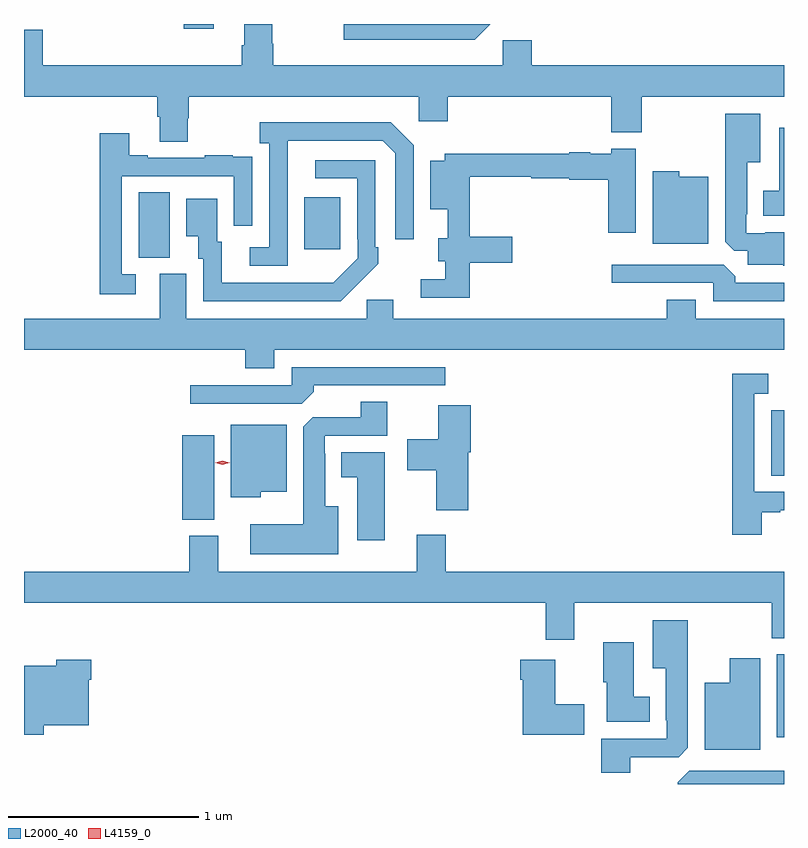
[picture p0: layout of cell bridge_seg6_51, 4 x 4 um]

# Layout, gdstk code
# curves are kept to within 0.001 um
import gdstk
lib = gdstk.Library(unit=1e-6, precision=1e-09)
def R(c, l, rs):  # rectangles x0, y0, x1, y1
    for r in rs: c.add(gdstk.rectangle(r[:2], r[2:], *l))
def P(c, l, *ps):  # polygons
    for p in ps: c.add(gdstk.Polygon(p, *l))
L2000_40 = (2000, 40)
L4159_0 = (4159, 0)

bridge_seg6_51 = lib.new_cell('bridge_seg6_51')
R(bridge_seg6_51, L2000_40, [(1093.976,987.92,1094.013,988.356), (1090.847,989.065,1091.014,989.509), (1093.946,989.296,1094.013,989.64), (1090.616,990.445,1090.78,990.788), (1091.489,990.489,1091.677,990.763), (1090.855,991.65,1091.011,991.674)])
P(bridge_seg6_51, L2000_40, [(1090.875,991.179),(1090.88,991.179),(1090.88,991.292),(1092.09,991.292),(1092.09,991.161),(1092.242,991.161),(1092.242,991.292),(1093.103,991.292),(1093.103,991.103),(1093.263,991.103),(1093.263,991.292),(1094.013,991.292),(1094.013,991.456),(1092.686,991.456),(1092.686,991.588),(1092.534,991.588),(1092.534,991.456),(1091.324,991.456),(1091.324,991.569),(1091.319,991.569),(1091.319,991.674),(1091.171,991.674),(1091.171,991.562),(1091.159,991.562),(1091.159,991.456),(1090.112,991.456),(1090.112,991.645),(1090.013,991.645),(1090.013,991.292),(1090.715,991.292),(1090.715,991.186),(1090.727,991.186),(1090.727,991.054),(1090.875,991.054)],
  [(1092.468,991.674),(1091.697,991.674),(1091.697,991.592),(1092.386,991.592)],
  [(1094.013,990.577),(1093.915,990.577),(1093.915,990.573),(1093.815,990.573),(1093.815,990.673),(1093.819,990.673),(1093.819,990.947),(1093.888,990.947),(1093.888,991.201),(1093.703,991.201),(1093.703,990.529),(1093.752,990.48),(1093.823,990.48),(1093.823,990.407),(1094.01,990.407),(1094.01,990.401),(1094.013,990.401)],
  [(1091.4,990.859),(1091.401,991.059),(1091.901,991.059),(1091.967,990.993),(1091.967,990.54),(1092.063,990.54),(1092.063,991.035),(1091.942,991.156),(1091.253,991.156),(1091.253,991.046),(1091.304,991.046),(1091.304,990.498),(1091.202,990.498),(1091.202,990.402),(1091.4,990.402)],
  [(1094.013,991.129),(1093.988,991.129),(1093.988,990.796),(1093.904,990.796),(1093.904,990.665),(1094.013,990.665)],
  [(1090.6,990.357),(1090.527,990.357),(1090.527,990.873),(1091.118,990.873),(1091.118,990.612),(1091.214,990.612),(1091.214,990.866),(1091.213,990.866),(1091.213,990.975),(1091.111,990.975),(1091.111,990.982),(1090.963,990.982),(1090.963,990.969),(1090.663,990.969),(1090.663,990.982),(1090.567,990.982),(1090.567,991.099),(1090.411,991.099),(1090.411,990.252),(1090.6,990.252)],
  [(1092.359,990.418),(1092.583,990.418),(1092.583,990.555),(1092.359,990.555),(1092.359,990.87),(1092.682,990.87),(1092.682,990.862),(1092.882,990.862),(1092.882,990.854),(1093.088,990.854),(1093.088,990.576),(1093.234,990.576),(1093.234,991.018),(1093.104,991.018),(1093.104,990.991),(1092.993,990.991),(1092.993,990.999),(1092.882,990.999),(1092.882,990.991),(1092.228,990.991),(1092.228,990.955),(1092.152,990.955),(1092.152,990.698),(1092.242,990.698),(1092.242,990.547),(1092.194,990.547),(1092.194,990.425),(1092.231,990.425),(1092.231,990.33),(1092.102,990.33),(1092.102,990.234),(1092.359,990.234)],
  [(1091.771,990.307),(1091.772,990.306),(1091.877,990.411),(1091.877,990.499),(1091.862,990.499),(1091.862,990.957),(1091.547,990.957),(1091.547,990.861),(1091.766,990.861),(1091.766,990.541),(1091.769,990.541),(1091.769,990.441),(1091.641,990.313),(1091.053,990.312),(1091.053,990.528),(1091.029,990.528),(1091.029,990.754),(1090.868,990.754),(1090.868,990.557),(1090.931,990.557),(1090.931,990.438),(1090.956,990.438),(1090.956,990.216),(1091.68,990.216)],
  [(1093.615,990.871),(1093.461,990.871),(1093.461,990.898),(1093.322,990.898),(1093.322,990.518),(1093.615,990.518)],
  [(1094.013,990.312),(1093.757,990.312),(1093.757,990.346),(1093.695,990.408),(1093.107,990.408),(1093.107,990.312),(1093.641,990.312),(1093.641,990.216),(1094.013,990.216)],
  [(1091.329,989.96),(1094.013,989.96),(1094.013,990.124),(1093.549,990.124),(1093.549,990.223),(1093.397,990.223),(1093.397,990.124),(1091.956,990.124),(1091.956,990.222),(1091.817,990.222),(1091.817,990.124),(1090.867,990.124),(1090.867,990.36),(1090.727,990.36),(1090.727,990.124),(1090.013,990.124),(1090.013,989.96),(1091.177,989.96),(1091.177,989.861),(1091.329,989.861)],
  [(1091.537,989.738),(1091.537,989.772),(1092.229,989.772),(1092.229,989.868),(1091.421,989.868),(1091.421,989.772),(1090.887,989.772),(1090.887,989.676),(1091.475,989.676)],
  [(1093.897,989.103),(1093.993,989.103),(1093.993,989.115),(1094.013,989.115),(1094.013,989.211),(1093.857,989.211),(1093.857,989.727),(1093.93,989.727),(1093.93,989.833),(1093.741,989.833),(1093.741,988.986),(1093.897,988.986)],
  [(1091.668,989.137),(1091.599,989.137),(1091.599,989.411),(1091.595,989.411),(1091.595,989.508),(1091.926,989.508),(1091.926,989.687),(1091.786,989.687),(1091.786,989.604),(1091.532,989.604),(1091.483,989.555),(1091.483,989.041),(1091.205,989.041),(1091.205,988.883),(1091.668,988.883)],
  [(1092.35,989.419),(1092.365,989.419),(1092.365,989.668),(1092.194,989.668),(1092.194,989.488),(1092.03,989.488),(1092.03,989.326),(1092.182,989.326),(1092.182,989.115),(1092.35,989.115)],
  [(1091.26,989.213),(1091.395,989.213),(1091.395,989.566),(1091.102,989.566),(1091.102,989.183),(1091.26,989.183)],
  [(1091.911,989.419),(1091.684,989.419),(1091.684,989.288),(1091.768,989.288),(1091.768,988.956),(1091.911,988.956)],
  [(1092.91,988.628),(1093.948,988.628),(1093.948,988.441),(1094.013,988.441),(1094.013,988.792),(1092.233,988.792),(1092.233,988.987),(1092.08,988.987),(1092.08,988.792),(1091.035,988.792),(1091.035,988.98),(1090.883,988.98),(1090.883,988.792),(1090.013,988.792),(1090.013,988.628),(1092.758,988.628),(1092.758,988.434),(1092.91,988.434)],
  [(1093.204,987.816),(1093.458,987.816),(1093.507,987.865),(1093.507,988.537),(1093.322,988.537),(1093.322,988.283),(1093.391,988.283),(1093.391,988.009),(1093.395,988.009),(1093.395,987.912),(1093.052,987.912),(1093.052,987.733),(1093.204,987.733)],
  [(1093.306,988.132),(1093.222,988.132),(1093.222,988.42),(1093.061,988.42),(1093.061,988.209),(1093.079,988.209),(1093.079,988.001),(1093.306,988.001)],
  [(1093.888,988.336),(1093.727,988.336),(1093.727,988.207),(1093.595,988.207),(1093.595,987.854),(1093.888,987.854)],
  [(1090.117,987.983),(1090.354,987.983),(1090.354,988.223),(1090.367,988.223),(1090.367,988.327),(1090.184,988.327),(1090.184,988.297),(1090.013,988.297),(1090.013,987.932),(1090.117,987.932)],
  [(1092.961,988.095),(1092.808,988.095),(1092.808,988.327),(1092.626,988.327),(1092.626,988.223),(1092.638,988.223),(1092.638,987.932),(1092.961,987.932)],
  [(1094.013,987.744),(1093.515,987.744),(1093.454,987.682),(1093.454,987.674),(1094.013,987.674)])
P(bridge_seg6_51, L4159_0, [(1091.057,989.355),(1091.019,989.364),(1091.019,989.364),(1091.019,989.365),(1091.057,989.375),(1091.095,989.365),(1091.095,989.365),(1091.095,989.364)])

lib.write_gds('bridge_seg6_51.gds')
